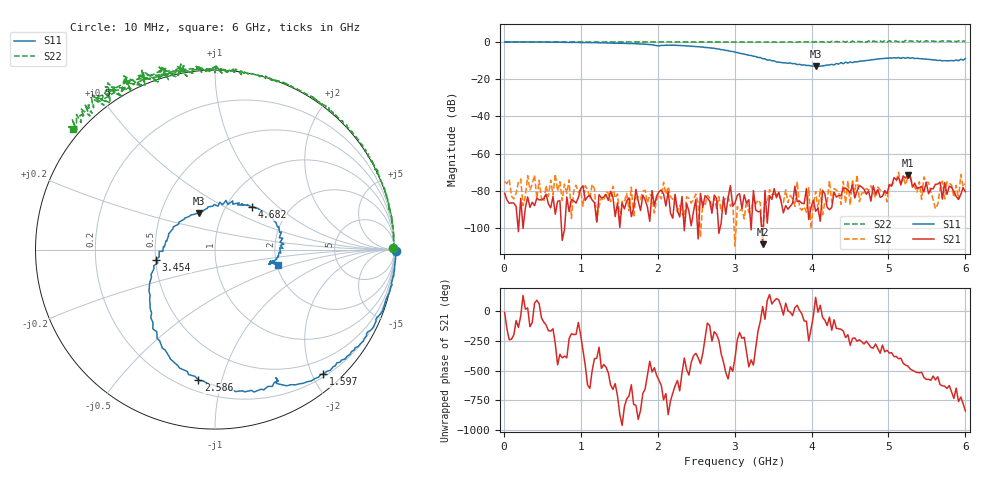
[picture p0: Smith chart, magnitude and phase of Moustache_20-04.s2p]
!  20/04/2026  17:17:46
! Ref Plane: 0.000 mm
# MHZ S MA R  50
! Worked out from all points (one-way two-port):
!   201 points, 10 MHz to 6 GHz, reference 50 ohm
!   highest |S21| = -71.62 dB at 5.251 GHz (marker M1); lowest = -108.7 dB at 3.364 GHz (marker M2)
!   lowest |S11| = -13.1 dB at 4.053 GHz (marker M3), VSWR 1.57, Z = 38.8 + j16.6 ohm
!   |S11| at or under -10 dB: 3.479 GHz to 4.698 GHz (1.219 GHz wide, 29.8 % of centre); 5.689 GHz to 5.806 GHz (116.6 MHz wide, 2.03 % of centre); 5.831165 GHz to 5.856938 GHz (25.77 MHz wide, 0.441 % of centre) (the widest 3 of 4)
!   |S22| runs from -0.2 to 0.9 dB; largest |S21 - S12| = 0.00029
!   S11 on the Smith chart (normalised r, x): 10 MHz: open; 1.597 GHz: 0.24, -2.18; 2.586 GHz: 0.27, -0.84; 3.454 GHz: 0.50, -0.06; 4.682 GHz: 1.31, +0.69; 6 GHz: 2.02, -0.41
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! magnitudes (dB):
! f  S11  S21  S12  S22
! 10 MHz  0.1  -81.3  -75.1  -0.1
! 339.4 MHz  0.0  -88.9  -79.5  0.0
! 399.4 MHz  0.0  -88.0  -71.5  0.0
! 429.3 MHz  0.0  -83.9  -84.2  0.0
! 639 MHz  -0.1  -83.0  -82.3  0.0
! 668.9 MHz  -0.1  -92.6  -70.9  0.0
! 698.9 MHz  -0.1  -85.7  -80.1  0.0
! 1.028 GHz  -0.3  -77.3  -88.4  0.0
! 1.597 GHz  -0.7  -85.5  -81.4  0.1
! 2.017 GHz  -2.0  -80.5  -82.1  0.0
! 2.586 GHz  -2.7  -88.9  -86.0  0.0
! 3.005 GHz  -5.5  -86.6  -109.8  0.0
! 3.364 GHz  -9.0  -108.7  -105.9  0.0
! 3.454 GHz  -9.6  -82.6  -79.4  0.1
! 4.023 GHz  -12.9  -85.1  -87.5  -0.1
! 4.053 GHz  -13.1  -91.0  -80.4  0.2
! 4.562 GHz  -10.6  -83.9  -81.2  0.0
! 4.592 GHz  -10.7  -80.0  -71.4  0.4
! 4.682 GHz  -10.1  -79.1  -81.1  0.5
! 5.012 GHz  -8.6  -76.8  -75.7  0.7
! 5.251 GHz  -8.3  -71.6  -73.1  0.1
! 6 GHz  -8.9  -80.5  -76.1  0.3
